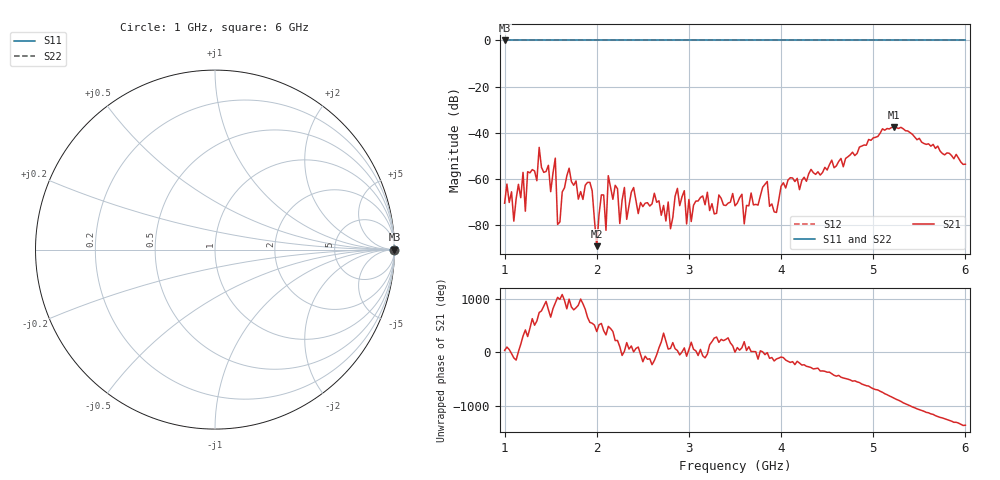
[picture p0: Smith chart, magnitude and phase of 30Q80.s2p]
!Keysight Technologies N9926A: A.08.19
!Date: Sunday, 01 March 2026 14:17:15
!Timezone: (GMT-06:00) Central Time (US & Canada)
!Model: N9926A
!Serial: MY53102721
!GPS Latitude:
!GPS Longitude:
!GPS TimeStamp: 0001-01-01 00:00:00Z
!GPS Seconds Since Last Read: 0
!CHECKSUM:0683078787
!Correction: S11()S21(ON U)S12()S22()
!S2P File: Measurements:S11,S21,S12,S22:
# Hz S DB R 50
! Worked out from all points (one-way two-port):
!   201 points, 1 GHz to 6 GHz, reference 50 ohm
!   highest |S21| = -37.64 dB at 5.225 GHz (marker M1); lowest = -89.3 dB at 2 GHz (marker M2)
!   lowest |S11| = 0.0 dB at 1 GHz (marker M3)
!   |S11| at or under -10 dB: nowhere
!   |S22| runs from 0.0 to 0.0 dB; largest |S21 - S12| = 1
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1e9  0.00 0.0  -70.65 36.0  0.00 0.0  0.00 0.0
1.1e9  0.00 0.0  -78.44 -102.5  0.00 0.0  0.00 0.0
1.2e9  0.00 0.0  -57.28 -57.1  0.00 0.0  0.00 0.0
1.225e9  0.00 0.0  -74.11 56.5  0.00 0.0  0.00 0.0
1.375e9  0.00 0.0  -46.43 19.6  0.00 0.0  0.00 0.0
1.5e9  0.00 0.0  -65.65 -65.8  0.00 0.0  0.00 0.0
1.55e9  0.00 0.0  -51.09 -163.7  0.00 0.0  0.00 0.0
1.575e9  0.00 0.0  -79.87 -58.7  0.00 0.0  0.00 0.0
1.7e9  0.00 0.0  -55.46 -92.1  0.00 0.0  0.00 0.0
1.85e9  0.00 0.0  -69.00 -177.2  0.00 0.0  0.00 0.0
2e9  0.00 0.0  -89.31 26.4  0.00 0.0  0.00 0.0
2.1e9  0.00 0.0  -82.44 -35.3  0.00 0.0  0.00 0.0
2.125e9  0.00 0.0  -58.71 122.5  0.00 0.0  0.00 0.0
2.25e9  0.00 0.0  -79.47 104.8  0.00 0.0  0.00 0.0
2.3e9  0.00 0.0  -63.83 20.6  0.00 0.0  0.00 0.0
2.325e9  0.00 0.0  -77.67 -178.9  0.00 0.0  0.00 0.0
2.675e9  0.00 0.0  -69.61 85.6  0.00 0.0  0.00 0.0
3.5e9  0.00 0.0  -71.79 3.2  0.00 0.0  0.00 0.0
4.35e9  0.00 0.0  -57.41 52.4  0.00 0.0  0.00 0.0
5.175e9  0.00 0.0  -38.42 -88.2  0.00 0.0  0.00 0.0
5.225e9  0.00 0.0  -37.64 -130.3  0.00 0.0  0.00 0.0
6e9  0.00 0.0  -53.71 87.4  0.00 0.0  0.00 0.0
